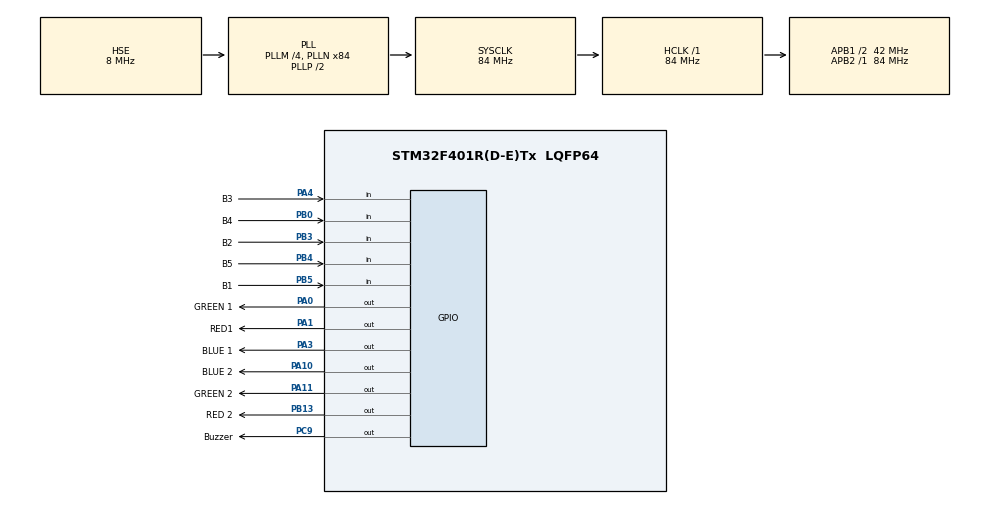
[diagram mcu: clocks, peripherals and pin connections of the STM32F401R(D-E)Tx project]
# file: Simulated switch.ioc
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Mcu.Family=STM32F4
Mcu.Name=STM32F401R(D-E)Tx
Mcu.Package=LQFP64
NVIC.PriorityGroup=NVIC_PRIORITYGROUP_0
PA0-WKUP.GPIO_Label=GREEN 1
PA0-WKUP.Signal=GPIO_Output
PA1.GPIO_Label=RED1
PA1.Signal=GPIO_Output
PA10.GPIO_Label=BLUE 2
PA10.Signal=GPIO_Output
PA11.GPIO_Label=GREEN 2
PA11.Signal=GPIO_Output
PA13.Mode=Serial_Wire
PA13.Signal=SYS_JTMS-SWDIO
PA14.Mode=Serial_Wire
PA14.Signal=SYS_JTCK-SWCLK
PA3.GPIO_Label=BLUE 1
PA3.Signal=GPIO_Output
PA4.GPIO_Label=B3
PA4.GPIO_PuPd=GPIO_PULLUP
PA4.Signal=GPIO_Input
PB0.GPIO_Label=B4
PB0.GPIO_PuPd=GPIO_PULLUP
PB0.Signal=GPIO_Input
PB13.GPIO_Label=RED 2
PB13.Signal=GPIO_Output
PB3.GPIO_Label=B2
PB3.GPIO_PuPd=GPIO_PULLUP
PB3.Signal=GPIO_Input
PB4.GPIO_Label=B5
PB4.GPIO_PuPd=GPIO_PULLUP
PB4.Signal=GPIO_Input
PB5.GPIO_Label=B1
PB5.GPIO_PuPd=GPIO_PULLUP
PB5.Signal=GPIO_Input
PC9.GPIO_Label=Buzzer
PC9.Signal=GPIO_Output
PH0\ -\ OSC_IN.Mode=HSE-External-Oscillator
PH0\ -\ OSC_IN.Signal=RCC_OSC_IN
PH1\ -\ OSC_OUT.Mode=HSE-External-Oscillator
PH1\ -\ OSC_OUT.Signal=RCC_OSC_OUT
ProjectManager.HeapSize=0x200
ProjectManager.StackSize=0x400
ProjectManager.TargetToolchain=STM32CubeIDE
RCC.48MHZClocksFreq_Value=24000000
RCC.AHBFreq_Value=84000000
RCC.APB1CLKDivider=RCC_HCLK_DIV2
RCC.APB1Freq_Value=42000000
RCC.APB1TimFreq_Value=84000000
RCC.APB2Freq_Value=84000000
RCC.APB2TimFreq_Value=84000000
RCC.CortexFreq_Value=84000000
RCC.HCLKFreq_Value=84000000
RCC.HSE_VALUE=8000000
RCC.HSI_VALUE=16000000
RCC.LSE_VALUE=32768
RCC.PLLM=4
RCC.PLLN=84
RCC.PLLQ=7
RCC.PLLSourceVirtual=RCC_PLLSOURCE_HSE
RCC.SYSCLKFreq_VALUE=84000000
RCC.SYSCLKSource=RCC_SYSCLKSOURCE_PLLCLK
RCC.VCOOutputFreq_Value=168000000
board=NUCLEO-F401RE

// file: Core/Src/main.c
/* USER CODE BEGIN Header */
/**
  ******************************************************************************
  * @file           : main.c
  * @brief          : Main program body
  ******************************************************************************
  * @attention
  *
  * Copyright (c) 2025 STMicroelectronics.
  * All rights reserved.
  *
  * This software is licensed under terms that can be found in the LICENSE file
  * in the root directory of this software component.
  * If no LICENSE file comes with this software, it is provided AS-IS.
  *
  ******************************************************************************
  */
/* USER CODE END Header */
#include "main.h"
#include <stdbool.h>   // thêm cái này để dùng bool, true, false
#include <stdint.h>    // cho uint32_t, uint8_t

/* USER CODE BEGIN PD */
/* Board green LED (LD2 on Nucleo) */
#define BOARD_GREEN_PORT   GPIOA
#define BOARD_GREEN_PIN    GPIO_PIN_5

/* LED1 (RGB) pins */
#define LED1_R_PORT  GPIOA
#define LED1_R_PIN   GPIO_PIN_1
#define LED1_G_PORT  GPIOA
#define LED1_G_PIN   GPIO_PIN_0
#define LED1_B_PORT  GPIOA
#define LED1_B_PIN   GPIO_PIN_3

/* LED2 (RGB) pins */
#define LED2_R_PORT  GPIOB
#define LED2_R_PIN   GPIO_PIN_13
#define LED2_G_PORT  GPIOA
#define LED2_G_PIN   GPIO_PIN_11
#define LED2_B_PORT  GPIOA
#define LED2_B_PIN   GPIO_PIN_10

/* Buzzer */
#define BUZZ_PORT    GPIOC
#define BUZZ_PIN     GPIO_PIN_9

/* Buttons */
#define B2_PORT      GPIOB
#define B2_PIN       GPIO_PIN_3   // nút B2
#define B3_PORT      GPIOA
#define B3_PIN       GPIO_PIN_4   // nút B3 (nhấn 5 lần)
#define B4_PORT      GPIOB
#define B4_PIN       GPIO_PIN_0   // nút B4

/* Timing thresholds (ms) */
#define DEBOUNCE_MS      20
#define B3_INTERVAL_MS   1000
#define LONGPRESS_MS     500
#define DOUBLECLICK_MS   400

/* USER CODE END PD */

/* USER CODE BEGIN PM */
static inline void pin_set(GPIO_TypeDef* P, uint16_t pin) { HAL_GPIO_WritePin(P, pin, GPIO_PIN_SET); }
static inline void pin_reset(GPIO_TypeDef* P, uint16_t pin) { HAL_GPIO_WritePin(P, pin, GPIO_PIN_RESET); }

/* USER CODE END PM */

/* USER CODE BEGIN PV */

typedef struct {
    GPIO_TypeDef* port;
    uint16_t pin;
    bool prev_raw;
    uint32_t press_ts;
    bool long_active;
    uint32_t last_release;
    uint8_t click_cnt;
    bool toggle_state;
} btn_t;

btn_t btn2 = {B2_PORT, B2_PIN, false, 0, false, 0, 0, false};
btn_t btn4 = {B4_PORT, B4_PIN, false, 0, false, 0, 0, false};

/* B3 counter */
uint8_t b3_count = 0;
uint32_t b3_last_ms = 0;

/* USER CODE END PV */

void SystemClock_Config(void);
static void MX_GPIO_Init(void);
/* USER CODE BEGIN PFP */
static void led1_set_color(uint8_t r, uint8_t g, uint8_t b);
static void led2_set_color(uint8_t r, uint8_t g, uint8_t b);
static void all_rgb_set_green(void);
static void all_rgb_off(void);
static void buzzer_beep(uint8_t times, uint32_t on_ms, uint32_t off_ms);

/* USER CODE END PFP */

int main(void)
{

  /* MCU Configuration--------------------------------------------------------*/

  /* Reset of all peripherals, Initializes the Flash interface and the Systick. */
  HAL_Init();

  /* Configure the system clock */
  SystemClock_Config();

  /* Initialize all configured peripherals */
  MX_GPIO_Init();
  /* USER CODE BEGIN 2 */
  /* Test LED sau khi init GPIO */
  // BLUE_1 (PA3)
  HAL_GPIO_WritePin(BLUE_1_GPIO_Port, BLUE_1_Pin, GPIO_PIN_SET);
  HAL_Delay(1000);
  HAL_GPIO_WritePin(BLUE_1_GPIO_Port, BLUE_1_Pin, GPIO_PIN_RESET);
  HAL_Delay(1000);

  // RED_2 (PB13)
  HAL_GPIO_WritePin(RED_2_GPIO_Port, RED_2_Pin, GPIO_PIN_SET);
  HAL_Delay(1000);
  HAL_GPIO_WritePin(RED_2_GPIO_Port, RED_2_Pin, GPIO_PIN_RESET);
  HAL_Delay(1000);

  /* Startup: nháy LED board 5 lần */
  for (int i = 0; i < 4; ++i) {
    HAL_GPIO_WritePin(GREEN_1_GPIO_Port, GREEN_1_Pin, GPIO_PIN_SET);
    HAL_GPIO_WritePin(GREEN_2_GPIO_Port, GREEN_2_Pin, GPIO_PIN_SET);
    HAL_Delay(200);
    HAL_GPIO_WritePin(GREEN_1_GPIO_Port, GREEN_1_Pin, GPIO_PIN_RESET);
    HAL_GPIO_WritePin(GREEN_2_GPIO_Port, GREEN_2_Pin, GPIO_PIN_RESET);
    HAL_Delay(150);
  }

  /* USER CODE END 2 */

  /* Infinite loop */
  /* USER CODE BEGIN WHILE */
  while (1)
  {
    uint32_t now = HAL_GetTick();

    /* ---------- B3: nhấn 5 lần ---------- */
    static bool b3_prev = false;
    bool b3_raw = (HAL_GPIO_ReadPin(B3_PORT, B3_PIN) == GPIO_PIN_RESET);
    if (b3_raw && !b3_prev) {
      HAL_Delay(DEBOUNCE_MS);
      if (HAL_GPIO_ReadPin(B3_PORT, B3_PIN) == GPIO_PIN_RESET) {
        if (now - b3_last_ms <= B3_INTERVAL_MS) b3_count++; else b3_count = 1;
        b3_last_ms = now;
        if (b3_count >= 5) {
          b3_count = 0;
          /* Nháy LED xanh + buzzer */
          for (int i = 0; i < 5; ++i) {
            pin_set(LED1_G_PORT, LED1_G_PIN);
            pin_set(LED2_G_PORT, LED2_G_PIN);
            HAL_Delay(200);
            pin_reset(LED1_G_PORT, LED1_G_PIN);
            pin_reset(LED2_G_PORT, LED2_G_PIN);
            HAL_Delay(150);
          }
          buzzer_beep(2, 200, 150);
        }
        while (HAL_GPIO_ReadPin(B3_PORT, B3_PIN) == GPIO_PIN_RESET);
      }
    }
    b3_prev = b3_raw;

    /* ---------- B2 & B4 unified handling ---------- */
    btn_t *bs[2] = { &btn2, &btn4 };
    for (int i = 0; i < 2; i++) {
      btn_t *b = bs[i];
      bool raw = (HAL_GPIO_ReadPin(b->port, b->pin) == GPIO_PIN_RESET);

      /* cạnh xuống (bắt đầu nhấn) */
      if (raw && !b->prev_raw) {
        HAL_Delay(DEBOUNCE_MS);
        if (HAL_GPIO_ReadPin(b->port, b->pin) == GPIO_PIN_RESET) {
          b->press_ts = now;
          b->long_active = false;
        }
      }

      /* đang giữ: nếu vượt quá LONGPRESS_MS -> long_active = true (momentary ON) */
      if (raw && !b->long_active && b->press_ts != 0) {
        if (now - b->press_ts >= LONGPRESS_MS) {
          b->long_active = true;
          /* DO NOT change toggle_state here: long_active chỉ để bật tạm thời khi giữ */
        }
      }

      /* cạnh lên (nhả) */
      if (!raw && b->prev_raw) {
        HAL_Delay(DEBOUNCE_MS);
        if (HAL_GPIO_ReadPin(b->port, b->pin) != GPIO_PIN_RESET) {
          if (b->long_active) {
            /* nếu đã là long press — đây là hành vi momentary: tắt khi nhả */
            b->long_active = false;
          } else {
            /* short press -> double-click detection */
            if (b->last_release != 0 && (now - b->last_release) <= DOUBLECLICK_MS) {
              /* double click -> toggle persistent state */
              b->click_cnt = 0;
              b->toggle_state = !b->toggle_state;
              b->last_release = 0;
            } else {
              /* ghi nhận 1 lần nhấn, chờ xem có double không */
              b->click_cnt = 1;
              b->last_release = now;
            }
          }
          b->press_ts = 0;
        }
      }

      b->prev_raw = raw;
    }

    /* single-click timeout => coi là single click -> turn OFF (như spec cũ) */
    if (btn2.click_cnt == 1 && (now - btn2.last_release) > DOUBLECLICK_MS) {
      btn2.click_cnt = 0;
      btn2.toggle_state = false;
      btn2.last_release = 0;
    }
    if (btn4.click_cnt == 1 && (now - btn4.last_release) > DOUBLECLICK_MS) {
      btn4.click_cnt = 0;
      btn4.toggle_state = false;
      btn4.last_release = 0;
    }

    /* ---------- Áp dụng trạng thái LED ---------- */
    /* BLUE_1: sáng khi giữ (long_active) OR khi đã toggle_state = ON */
    if (btn2.long_active || btn2.toggle_state)
      HAL_GPIO_WritePin(BLUE_1_GPIO_Port, BLUE_1_Pin, GPIO_PIN_SET);
    else
      HAL_GPIO_WritePin(BLUE_1_GPIO_Port, BLUE_1_Pin, GPIO_PIN_RESET);

    /* RED_2: tương tự */
    if (btn4.long_active || btn4.toggle_state)
      HAL_GPIO_WritePin(RED_2_GPIO_Port, RED_2_Pin, GPIO_PIN_SET);
    else
      HAL_GPIO_WritePin(RED_2_GPIO_Port, RED_2_Pin, GPIO_PIN_RESET);

    HAL_Delay(10);
    /* USER CODE END WHILE */

  }
}

void SystemClock_Config(void)
{
  RCC_OscInitTypeDef RCC_OscInitStruct = {0};
  RCC_ClkInitTypeDef RCC_ClkInitStruct = {0};

  /** Configure the main internal regulator output voltage
  */
  __HAL_RCC_PWR_CLK_ENABLE();
  __HAL_PWR_VOLTAGESCALING_CONFIG(PWR_REGULATOR_VOLTAGE_SCALE2);

  /** Initializes the RCC Oscillators according to the specified parameters
  * in the RCC_OscInitTypeDef structure.
  */
  RCC_OscInitStruct.OscillatorType = RCC_OSCILLATORTYPE_HSE;
  RCC_OscInitStruct.HSEState = RCC_HSE_BYPASS;
  RCC_OscInitStruct.PLL.PLLState = RCC_PLL_ON;
  RCC_OscInitStruct.PLL.PLLSource = RCC_PLLSOURCE_HSE;
  RCC_OscInitStruct.PLL.PLLM = 4;
  RCC_OscInitStruct.PLL.PLLN = 84;
  RCC_OscInitStruct.PLL.PLLP = RCC_PLLP_DIV2;
  RCC_OscInitStruct.PLL.PLLQ = 7;
  if (HAL_RCC_OscConfig(&RCC_OscInitStruct) != HAL_OK)
  {
    Error_Handler();
  }

  /** Initializes the CPU, AHB and APB buses clocks
  */
  RCC_ClkInitStruct.ClockType = RCC_CLOCKTYPE_HCLK|RCC_CLOCKTYPE_SYSCLK
                              |RCC_CLOCKTYPE_PCLK1|RCC_CLOCKTYPE_PCLK2;
  RCC_ClkInitStruct.SYSCLKSource = RCC_SYSCLKSOURCE_PLLCLK;
  RCC_ClkInitStruct.AHBCLKDivider = RCC_SYSCLK_DIV1;
  RCC_ClkInitStruct.APB1CLKDivider = RCC_HCLK_DIV2;
  RCC_ClkInitStruct.APB2CLKDivider = RCC_HCLK_DIV1;

  if (HAL_RCC_ClockConfig(&RCC_ClkInitStruct, FLASH_LATENCY_2) != HAL_OK)
  {
    Error_Handler();
  }
}

static void MX_GPIO_Init(void)
{
  GPIO_InitTypeDef GPIO_InitStruct = {0};

  /* GPIO Ports Clock Enable */
  __HAL_RCC_GPIOH_CLK_ENABLE();
  __HAL_RCC_GPIOA_CLK_ENABLE();
  __HAL_RCC_GPIOB_CLK_ENABLE();
  __HAL_RCC_GPIOC_CLK_ENABLE();

  /*Configure GPIO pin Output Level */
  HAL_GPIO_WritePin(GPIOA, GREEN_1_Pin|RED1_Pin|BLUE_1_Pin|BLUE_2_Pin
                          |GREEN_2_Pin, GPIO_PIN_RESET);

  /*Configure GPIO pin Output Level */
  HAL_GPIO_WritePin(RED_2_GPIO_Port, RED_2_Pin, GPIO_PIN_RESET);

  /*Configure GPIO pin Output Level */
  HAL_GPIO_WritePin(Buzzer_GPIO_Port, Buzzer_Pin, GPIO_PIN_RESET);

  /*Configure GPIO pins : GREEN_1_Pin RED1_Pin BLUE_1_Pin BLUE_2_Pin
                           GREEN_2_Pin */
  GPIO_InitStruct.Pin = GREEN_1_Pin|RED1_Pin|BLUE_1_Pin|BLUE_2_Pin
                          |GREEN_2_Pin;
  GPIO_InitStruct.Mode = GPIO_MODE_OUTPUT_PP;
  GPIO_InitStruct.Pull = GPIO_NOPULL;
  GPIO_InitStruct.Speed = GPIO_SPEED_FREQ_LOW;
  HAL_GPIO_Init(GPIOA, &GPIO_InitStruct);

  /*Configure GPIO pin : B3_Pin */
  GPIO_InitStruct.Pin = B3_Pin;
  GPIO_InitStruct.Mode = GPIO_MODE_INPUT;
  GPIO_InitStruct.Pull = GPIO_PULLUP;
  HAL_GPIO_Init(B3_GPIO_Port, &GPIO_InitStruct);

  /*Configure GPIO pins : B4_Pin B2_Pin B5_Pin B1_Pin */
  GPIO_InitStruct.Pin = B4_Pin|B2_Pin|B5_Pin|B1_Pin;
  GPIO_InitStruct.Mode = GPIO_MODE_INPUT;
  GPIO_InitStruct.Pull = GPIO_PULLUP;
  HAL_GPIO_Init(GPIOB, &GPIO_InitStruct);

  /*Configure GPIO pin : RED_2_Pin */
  GPIO_InitStruct.Pin = RED_2_Pin;
  GPIO_InitStruct.Mode = GPIO_MODE_OUTPUT_PP;
  GPIO_InitStruct.Pull = GPIO_NOPULL;
  GPIO_InitStruct.Speed = GPIO_SPEED_FREQ_LOW;
  HAL_GPIO_Init(RED_2_GPIO_Port, &GPIO_InitStruct);

  /*Configure GPIO pin : Buzzer_Pin */
  GPIO_InitStruct.Pin = Buzzer_Pin;
  GPIO_InitStruct.Mode = GPIO_MODE_OUTPUT_PP;
  GPIO_InitStruct.Pull = GPIO_NOPULL;
  GPIO_InitStruct.Speed = GPIO_SPEED_FREQ_LOW;
  HAL_GPIO_Init(Buzzer_GPIO_Port, &GPIO_InitStruct);

}

/* USER CODE BEGIN 4 */
static void led1_set_color(uint8_t r, uint8_t g, uint8_t b) {
  HAL_GPIO_WritePin(LED1_R_PORT, LED1_R_PIN, r ? GPIO_PIN_SET : GPIO_PIN_RESET);
  HAL_GPIO_WritePin(LED1_G_PORT, LED1_G_PIN, g ? GPIO_PIN_SET : GPIO_PIN_RESET);
  HAL_GPIO_WritePin(LED1_B_PORT, LED1_B_PIN, b ? GPIO_PIN_SET : GPIO_PIN_RESET);
}
static void led2_set_color(uint8_t r, uint8_t g, uint8_t b) {
  HAL_GPIO_WritePin(LED2_R_PORT, LED2_R_PIN, r ? GPIO_PIN_SET : GPIO_PIN_RESET);
  HAL_GPIO_WritePin(LED2_G_PORT, LED2_G_PIN, g ? GPIO_PIN_SET : GPIO_PIN_RESET);
  HAL_GPIO_WritePin(LED2_B_PORT, LED2_B_PIN, b ? GPIO_PIN_SET : GPIO_PIN_RESET);
}
static void all_rgb_off(void) {
  led1_set_color(0,0,0); led2_set_color(0,0,0);
}
static void buzzer_beep(uint8_t times, uint32_t on_ms, uint32_t off_ms) {
  for (uint8_t i=0;i<times;i++){
    HAL_GPIO_WritePin(BUZZ_PORT, BUZZ_PIN, GPIO_PIN_SET);
    HAL_Delay(on_ms);
    HAL_GPIO_WritePin(BUZZ_PORT, BUZZ_PIN, GPIO_PIN_RESET);
    if (i < times-1) HAL_Delay(off_ms);
  }
}
/* USER CODE END 4 */

void Error_Handler(void)
{
  __disable_irq();
  while (1)
  {
  }
}
